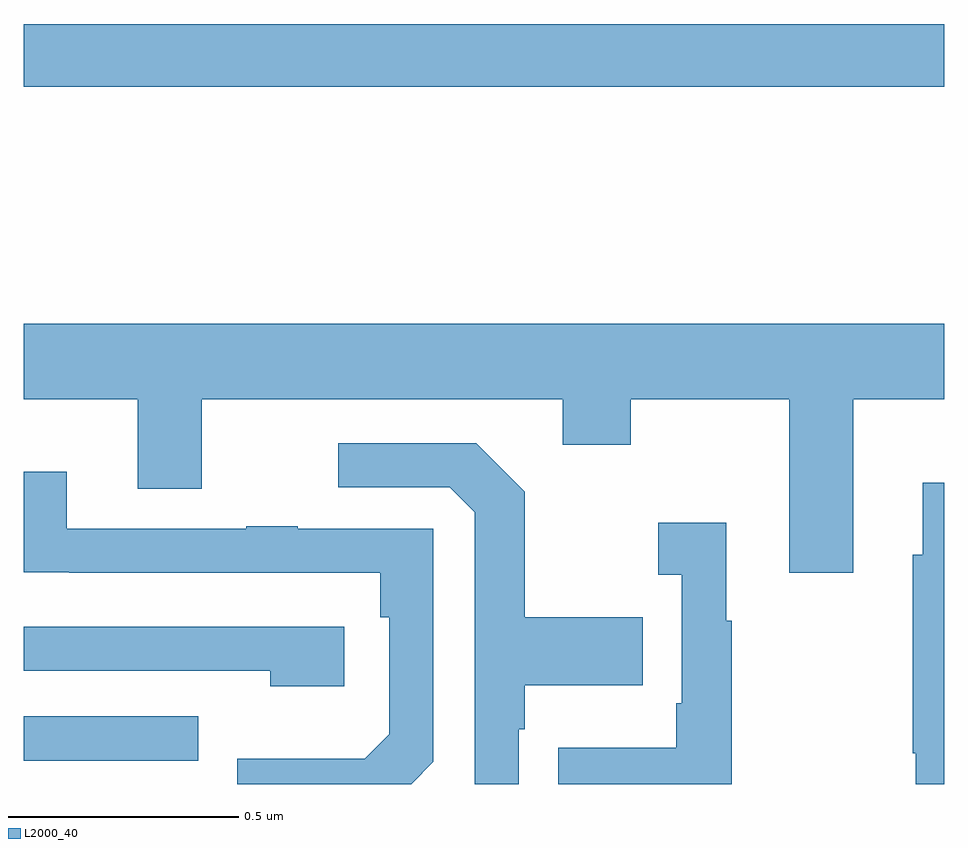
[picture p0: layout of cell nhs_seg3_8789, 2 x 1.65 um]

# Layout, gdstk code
import gdstk
lib = gdstk.Library(unit=1e-6, precision=1e-09)
def R(c, l, rs):  # rectangles x0, y0, x1, y1
    for r in rs: c.add(gdstk.rectangle(r[:2], r[2:], *l))
def P(c, l, *ps):  # polygons
    for p in ps: c.add(gdstk.Polygon(p, *l))
L2000_40 = (2000, 40)

nhs_seg3_8789 = lib.new_cell('nhs_seg3_8789')
R(nhs_seg3_8789, L2000_40, [(220,713.451,220.379,713.547), (220,714.916,222,715.052)])
P(nhs_seg3_8789, L2000_40, [(221.803,714.236),(222,714.236),(222,714.4),(220,714.4),(220,714.236),(220.247,714.236),(220.247,714.042),(220.387,714.042),(220.387,714.236),(221.171,714.236),(221.171,714.137),(221.319,714.137),(221.319,714.236),(221.663,714.236),(221.663,713.859),(221.803,713.859)],
  [(221.076,713.519),(221.089,713.519),(221.089,713.615),(221.345,713.615),(221.345,713.763),(221.089,713.763),(221.089,714.035),(220.983,714.141),(220.683,714.141),(220.683,714.045),(220.926,714.045),(220.98,713.991),(220.98,713.4),(221.076,713.4)],
  [(220.89,713.448),(220.89,713.955),(220.595,713.955),(220.595,713.96),(220.483,713.96),(220.483,713.955),(220.093,713.955),(220.093,714.079),(220,714.079),(220,713.86),(220.099,713.86),(220.099,713.859),(220.774,713.859),(220.774,713.762),(220.794,713.762),(220.794,713.508),(220.741,713.455),(220.464,713.455),(220.464,713.4),(220.842,713.4)],
  [(222,714.055),(221.954,714.055),(221.954,713.898),(221.932,713.898),(221.932,713.467),(221.939,713.467),(221.939,713.4),(222,713.4)],
  [(221.539,713.755),(221.527,713.755),(221.527,713.968),(221.379,713.968),(221.379,713.855),(221.43,713.855),(221.43,713.575),(221.418,713.575),(221.418,713.479),(221.161,713.479),(221.161,713.4),(221.539,713.4)],
  [(220.696,713.742),(220,713.742),(220,713.646),(220.535,713.646),(220.535,713.612),(220.696,713.612)])

lib.write_gds('nhs_seg3_8789.gds')
